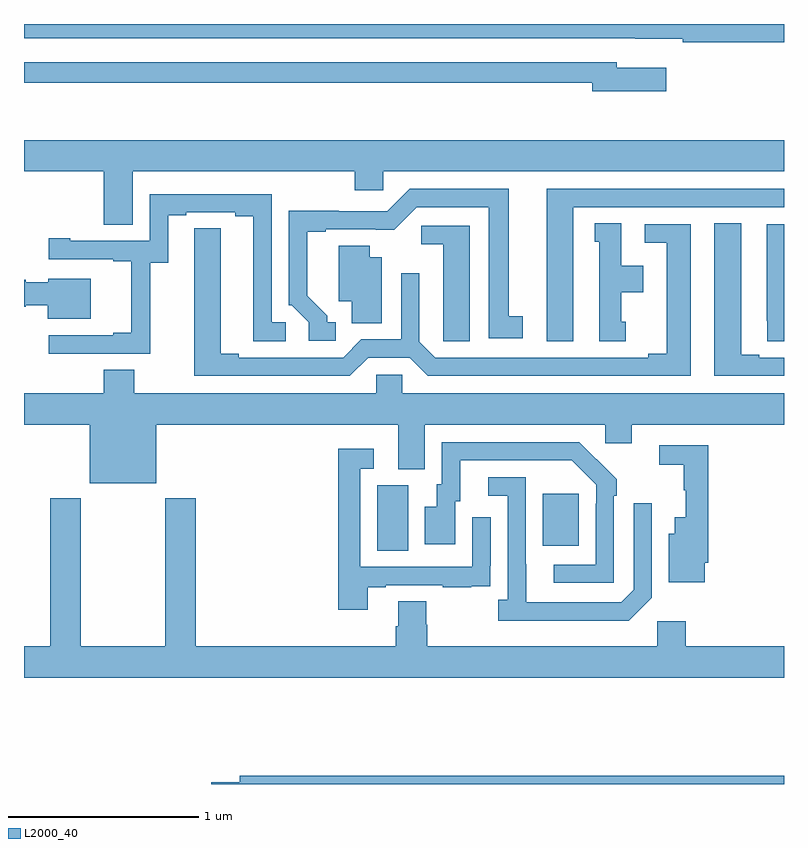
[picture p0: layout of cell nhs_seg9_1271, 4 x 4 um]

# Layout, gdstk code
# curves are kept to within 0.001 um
import gdstk
lib = gdstk.Library(unit=1e-6, precision=1e-09)
def R(c, l, rs):  # rectangles x0, y0, x1, y1
    for r in rs: c.add(gdstk.rectangle(r[:2], r[2:], *l))
def P(c, l, *ps):  # polygons
    for p in ps: c.add(gdstk.Polygon(p, *l))
L2000_40 = (2000, 40)

nhs_seg9_1271 = lib.new_cell('nhs_seg9_1271')
R(nhs_seg9_1271, L2000_40, [(182.858,1223.728,183.022,1224.072), (183.731,1223.753,183.919,1224.028)])
P(nhs_seg9_1271, L2000_40, [(185,1226.5),(181,1226.5),(181,1226.424),(184.216,1226.424),(184.216,1226.423),(184.468,1226.423),(184.468,1226.404),(185,1226.404)],
  [(184.381,1226.269),(184.12,1226.269),(184.12,1226.298),(181,1226.298),(181,1226.19),(183.992,1226.19),(183.992,1226.147),(184.381,1226.147)],
  [(181.573,1225.724),(182.741,1225.724),(182.741,1225.626),(182.892,1225.626),(182.892,1225.724),(185,1225.724),(185,1225.888),(181,1225.888),(181,1225.724),(181.421,1225.724),(181.421,1225.444),(181.573,1225.444)],
  [(183.892,1225.536),(185,1225.536),(185,1225.632),(183.752,1225.632),(183.752,1224.831),(183.892,1224.831)],
  [(182.641,1224.93),(182.596,1224.93),(182.596,1224.965),(182.491,1225.07),(182.491,1225.407),(182.587,1225.407),(182.587,1225.419),(182.948,1225.418),(183.066,1225.536),(183.446,1225.536),(183.446,1224.846),(183.625,1224.846),(183.625,1224.962),(183.55,1224.962),(183.55,1225.632),(183.03,1225.632),(182.913,1225.515),(182.657,1225.515),(182.657,1225.517),(182.394,1225.517),(182.394,1225.02),(182.409,1225.02),(182.499,1224.93),(182.499,1224.834),(182.641,1224.834)],
  [(181.665,1225.243),(181.759,1225.243),(181.759,1225.494),(181.855,1225.494),(181.855,1225.509),(182.111,1225.509),(182.111,1225.489),(182.207,1225.489),(182.207,1224.829),(182.377,1224.829),(182.377,1224.93),(182.304,1224.93),(182.304,1225.605),(181.662,1225.605),(181.662,1225.359),(181.243,1225.359),(181.243,1225.372),(181.131,1225.372),(181.131,1225.263),(181.469,1225.263),(181.469,1225.251),(181.565,1225.251),(181.565,1224.874),(181.469,1224.874),(181.469,1224.861),(181.131,1224.861),(181.131,1224.765),(181.665,1224.765)],
  [(185,1224.744),(184.87,1224.744),(184.87,1224.759),(184.774,1224.759),(184.774,1225.451),(184.634,1225.451),(184.634,1224.648),(185,1224.648)],
  [(184.168,1224.933),(184.144,1224.933),(184.144,1225.088),(184.258,1225.088),(184.258,1225.228),(184.144,1225.228),(184.144,1225.451),(184.004,1225.451),(184.004,1225.353),(184.028,1225.353),(184.028,1224.831),(184.168,1224.831)],
  [(185,1225.447),(184.91,1225.447),(184.91,1224.937),(184.911,1224.937),(184.911,1224.829),(185,1224.829)],
  [(182.811,1224.744),(183.029,1224.744),(183.125,1224.648),(184.51,1224.648),(184.51,1225.446),(184.266,1225.446),(184.266,1225.35),(184.382,1225.35),(184.382,1224.764),(184.286,1224.764),(184.286,1224.744),(183.165,1224.744),(183.081,1224.828),(183.081,1225.189),(182.985,1225.189),(182.985,1224.84),(182.775,1224.84),(182.679,1224.744),(182.131,1224.744),(182.131,1224.764),(182.035,1224.764),(182.035,1225.424),(181.896,1225.424),(181.895,1224.648),(182.715,1224.648)],
  [(183.346,1225.437),(183.09,1225.437),(183.09,1225.34),(183.206,1225.34),(183.206,1224.937),(183.207,1224.937),(183.207,1224.829),(183.346,1224.829)],
  [(182.884,1225.273),(182.821,1225.273),(182.821,1225.334),(182.657,1225.334),(182.657,1225.04),(182.726,1225.04),(182.726,1224.925),(182.884,1224.925)],
  [(181.351,1225.159),(181.128,1225.159),(181.128,1225.141),(181.008,1225.141),(181.008,1225.154),(181,1225.154),(181,1225.012),(181.008,1225.012),(181.008,1225.019),(181.124,1225.019),(181.124,1224.95),(181.351,1224.95)],
  [(181.581,1224.68),(181.421,1224.68),(181.421,1224.556),(181,1224.556),(181,1224.392),(181.346,1224.392),(181.346,1224.083),(181.696,1224.083),(181.696,1224.392),(182.969,1224.392),(182.969,1224.157),(183.109,1224.157),(183.109,1224.392),(184.059,1224.392),(184.059,1224.294),(184.198,1224.294),(184.198,1224.392),(185,1224.392),(185,1224.556),(182.991,1224.556),(182.991,1224.654),(182.853,1224.654),(182.853,1224.556),(181.581,1224.556)],
  [(184.104,1224.017),(184.119,1224.017),(184.119,1224.105),(183.922,1224.3),(183.198,1224.3),(183.198,1224.078),(183.173,1224.078),(183.173,1223.959),(183.11,1223.959),(183.11,1223.763),(183.271,1223.763),(183.271,1223.988),(183.295,1223.988),(183.295,1224.204),(183.883,1224.204),(184.011,1224.075),(184.011,1223.975),(184.008,1223.975),(184.008,1223.655),(183.789,1223.655),(183.789,1223.559),(184.104,1223.559)],
  [(184.582,1223.665),(184.601,1223.665),(184.601,1224.282),(184.344,1224.282),(184.344,1224.181),(184.473,1224.181),(184.473,1224.045),(184.484,1224.045),(184.484,1223.905),(184.424,1223.905),(184.424,1223.818),(184.394,1223.818),(184.394,1223.561),(184.582,1223.561)],
  [(182.809,1223.535),(182.905,1223.535),(182.905,1223.547),(183.205,1223.547),(183.205,1223.535),(183.353,1223.535),(183.353,1223.541),(183.455,1223.541),(183.455,1223.65),(183.456,1223.65),(183.456,1223.905),(183.36,1223.905),(183.36,1223.643),(182.769,1223.643),(182.769,1224.159),(182.842,1224.159),(182.842,1224.265),(182.653,1224.265),(182.653,1223.418),(182.809,1223.418)],
  [(184.305,1223.481),(184.305,1223.977),(184.209,1223.977),(184.209,1223.523),(184.143,1223.457),(183.643,1223.457),(183.642,1224.114),(183.444,1224.114),(183.444,1224.018),(183.546,1224.018),(183.546,1223.47),(183.495,1223.47),(183.495,1223.36),(184.184,1223.36)],
  [(185,1223.224),(184.484,1223.224),(184.484,1223.356),(184.332,1223.356),(184.332,1223.224),(183.122,1223.224),(183.122,1223.337),(183.117,1223.337),(183.117,1223.462),(182.969,1223.462),(182.969,1223.33),(182.957,1223.33),(182.957,1223.224),(181.904,1223.224),(181.904,1224.004),(181.744,1224.004),(181.744,1223.224),(181.299,1223.224),(181.299,1224.004),(181.139,1224.004),(181.139,1223.224),(181,1223.224),(181,1223.06),(185,1223.06)],
  [(185,1222.544),(182.135,1222.544),(182.135,1222.508),(181.986,1222.508),(181.986,1222.5),(185,1222.5)])

lib.write_gds('nhs_seg9_1271.gds')
